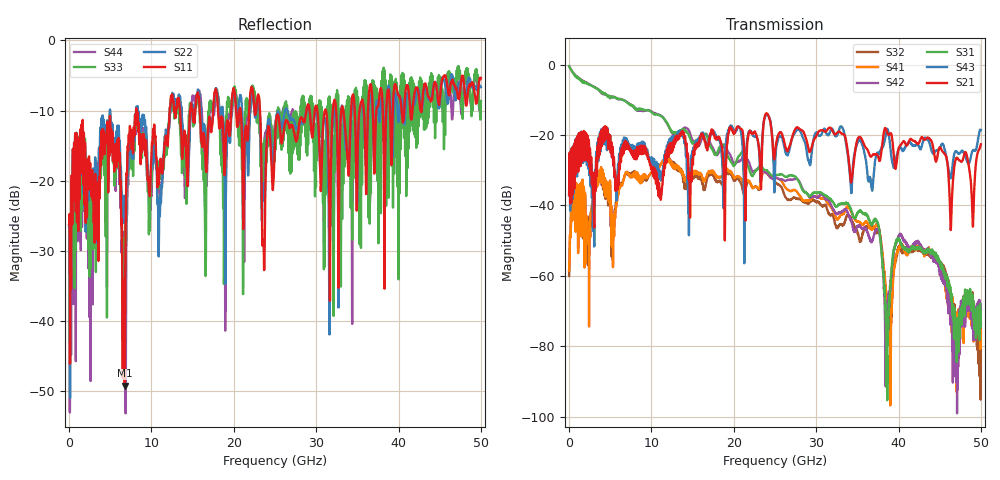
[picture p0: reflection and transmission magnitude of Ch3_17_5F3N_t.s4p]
!Agilent Technologies,N5247A,US51170199,A.09.90.13
!Agilent N5247A: A.09.90.13
!Date: Tuesday, December 08, 2015 12:49:24
!Correction: S11(Full 4 Port(1,2,3,4))
!S12(Full 4 Port(1,2,3,4))
!S13(Full 4 Port(1,2,3,4))
!S14(Full 4 Port(1,2,3,4))
!S21(Full 4 Port(1,2,3,4))
!S22(Full 4 Port(1,2,3,4))
!S23(Full 4 Port(1,2,3,4))
!S24(Full 4 Port(1,2,3,4))
!S31(Full 4 Port(1,2,3,4))
!S32(Full 4 Port(1,2,3,4))
!S33(Full 4 Port(1,2,3,4))
!S34(Full 4 Port(1,2,3,4))
!S41(Full 4 Port(1,2,3,4))
!S42(Full 4 Port(1,2,3,4))
!S43(Full 4 Port(1,2,3,4))
!S44(Full 4 Port(1,2,3,4))
!S4P File: Measurements: <S11,S12,S13,S14>,
!<S21,S22,S23,S24>,
!<S31,S32,S33,S34>,
!<S41,S42,S43,S44>:
# Hz S  dB  R 50
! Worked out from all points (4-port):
!   3201 points, 10 MHz to 50 GHz, reference 50 ohm
!   strongest paths, dB at 10 MHz, 12.51 GHz, 25 GHz, 37.5 GHz, 50 GHz:
!     S21: -37.1, -22.6, -24.8, -26.0, -22.6
!     S43: -37.1, -20.6, -29.0, -25.3, -18.5
!     S31: -0.4, -19.3, -31.3, -45.3, -74.0
!     S42: -0.4, -19.4, -32.1, -46.8, -73.6
!     S41: -58.6, -28.4, -31.9, -45.8, -76.3
!     S32: -60.0, -28.1, -33.3, -47.4, -75.4
!   lowest |S11| = -49.2 dB at 6.759 GHz (marker M1), VSWR 1.01, Z = 50.3 + j0.0788 ohm
!   |S11| at or under -10 dB: start of sweep to 8.142 GHz; 8.183 GHz to 12.21 GHz (4.024 GHz wide, 39.5 % of centre); 23.18 GHz to 28.82 GHz (5.638 GHz wide, 21.7 % of centre)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
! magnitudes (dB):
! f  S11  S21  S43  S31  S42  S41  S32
! 10 MHz  -26.2  -37.1  -37.1  -0.4  -0.4  -58.6  -60.0
! 5.04 GHz  -14.6  -22.5  -22.8  -9.1  -9.1  -38.9  -41.5
! 6.759 GHz  -49.2  -24.3  -22.9  -10.3  -10.2  -31.4  -31.4
! 12.62 GHz  -8.8  -22.5  -20.9  -19.2  -19.6  -28.3  -27.6
! 23.63 GHz  -29.1  -16.5  -16.4  -29.7  -30.2  -30.3  -30.5
! 38.53 GHz  -9.3  -18.6  -19.1  -81.9  -78.4  -66.5  -66.7
! 50 GHz  -5.4  -22.6  -18.5  -74.0  -73.6  -76.3  -75.4
